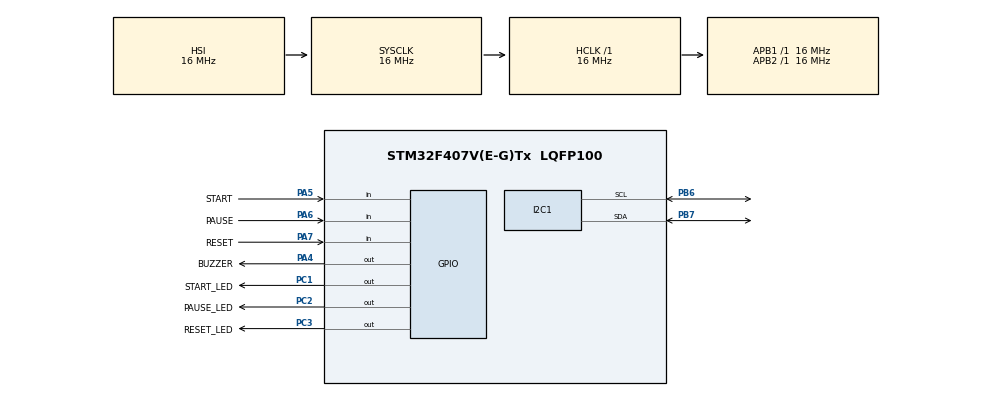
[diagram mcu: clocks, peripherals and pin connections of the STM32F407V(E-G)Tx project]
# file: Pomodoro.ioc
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Mcu.Family=STM32F4
Mcu.Name=STM32F407V(E-G)Tx
Mcu.Package=LQFP100
NVIC.PriorityGroup=NVIC_PRIORITYGROUP_4
PA4.GPIO_Label=BUZZER
PA4.Signal=GPIO_Output
PA5.GPIO_Label=START
PA5.GPIO_PuPd=GPIO_PULLDOWN
PA5.Signal=GPIO_Input
PA6.GPIO_Label=PAUSE
PA6.GPIO_PuPd=GPIO_PULLDOWN
PA6.Signal=GPIO_Input
PA7.GPIO_Label=RESET
PA7.GPIO_PuPd=GPIO_PULLDOWN
PA7.Signal=GPIO_Input
PB6.Mode=I2C
PB6.Signal=I2C1_SCL
PB7.Mode=I2C
PB7.Signal=I2C1_SDA
PC1.GPIO_Label=START_LED
PC1.Signal=GPIO_Output
PC2.GPIO_Label=PAUSE_LED
PC2.Signal=GPIO_Output
PC3.GPIO_Label=RESET_LED
PC3.Signal=GPIO_Output
ProjectManager.HeapSize=0x200
ProjectManager.StackSize=0x400
ProjectManager.TargetToolchain=CMake
RCC.AHBFreq_Value=16000000
RCC.APB1Freq_Value=16000000
RCC.APB2Freq_Value=16000000
RCC.CortexFreq_Value=16000000
RCC.HSE_VALUE=25000000
RCC.HSI_VALUE=16000000
RCC.LSE_VALUE=32768
RCC.SYSCLKFreq_VALUE=16000000
RCC.VCOOutputFreq_Value=192000000
board=custom

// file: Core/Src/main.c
/* USER CODE BEGIN Header */
/**
  ******************************************************************************
  * @file           : main.c
  * @brief          : Main program body
  ******************************************************************************
  * @attention
  *
  * Copyright (c) 2026 STMicroelectronics.
  * All rights reserved.
  *
  * This software is licensed under terms that can be found in the LICENSE file
  * in the root directory of this software component.
  * If no LICENSE file comes with this software, it is provided AS-IS.
  *
  ******************************************************************************
  */
/* USER CODE END Header */
#include "main.h"
#include "ssd1306.h"
#include "ssd1306_fonts.h"
#include "buttons.h"
#include<stdio.h>
#include<stdbool.h>

I2C_HandleTypeDef hi2c1;

void SystemClock_Config(void);
static void MX_GPIO_Init(void);
static void MX_I2C1_Init(void);

/* USER CODE BEGIN 0 */
void buzzer_beep(uint32_t ms) {
  HAL_GPIO_WritePin(BUZZER_GPIO_Port, BUZZER_Pin, GPIO_PIN_SET);
  HAL_Delay(ms);
  HAL_GPIO_WritePin(BUZZER_GPIO_Port, BUZZER_Pin, GPIO_PIN_RESET);
}
#define CZAS_PRACY_S 10
uint32_t sekundy = CZAS_PRACY_S;

void timer_update() {
  char napis[8];
  snprintf(napis, sizeof(napis), "%02lu:%02lu", sekundy / 60, sekundy % 60);
  ssd1306_Fill(Black);
  ssd1306_SetCursor(10, 20);
  ssd1306_WriteString(napis, Font_16x26, White);
  ssd1306_UpdateScreen();
}
/* USER CODE END 0 */

int main(void)
{

  /* MCU Configuration--------------------------------------------------------*/

  /* Reset of all peripherals, Initializes the Flash interface and the Systick. */
  HAL_Init();

  /* Configure the system clock */
  SystemClock_Config();

  /* Initialize all configured peripherals */
  MX_GPIO_Init();
  MX_I2C1_Init();
  /* USER CODE BEGIN 2 */
  buttons_init();
  ssd1306_Init();
  timer_update();
  /* USER CODE END 2 */

  /* Infinite loop */
  /* USER CODE BEGIN WHILE */
  uint32_t counter = 0;
  bool odlicza = false;
  while (1)
  {
    switch (buttons()) {
      case BTN_START:
        if (sekundy > 0) {
          odlicza = true;
          counter = HAL_GetTick();
        }
        HAL_GPIO_WritePin(START_LED_GPIO_Port, START_LED_Pin, GPIO_PIN_SET);
        buzzer_beep(100);
        HAL_GPIO_WritePin(RESET_LED_GPIO_Port, RESET_LED_Pin, GPIO_PIN_RESET);
        HAL_GPIO_WritePin(PAUSE_LED_GPIO_Port,PAUSE_LED_Pin, GPIO_PIN_RESET);
        break;
      case BTN_PAUSE:
        odlicza = false;
        HAL_GPIO_WritePin(START_LED_GPIO_Port, START_LED_Pin, GPIO_PIN_RESET);
        HAL_GPIO_WritePin(PAUSE_LED_GPIO_Port, PAUSE_LED_Pin, GPIO_PIN_SET);
        buzzer_beep(100);
        HAL_GPIO_WritePin(RESET_LED_GPIO_Port, RESET_LED_Pin, GPIO_PIN_RESET);
        break;
      case BTN_RESET:
        odlicza = false;
        sekundy = CZAS_PRACY_S;
        timer_update();
        HAL_GPIO_WritePin(START_LED_GPIO_Port, START_LED_Pin, GPIO_PIN_RESET);
        HAL_GPIO_WritePin(PAUSE_LED_GPIO_Port,PAUSE_LED_Pin, GPIO_PIN_RESET);
        HAL_GPIO_WritePin(RESET_LED_GPIO_Port, RESET_LED_Pin, GPIO_PIN_SET);
        buzzer_beep(100);
        break;
      default:
        break;
    }
    if (odlicza && (HAL_GetTick() - counter) >= 1000) {
      sekundy --;
      timer_update();
    }

    /* USER CODE END WHILE */

  }
}

void SystemClock_Config(void)
{
  RCC_OscInitTypeDef RCC_OscInitStruct = {0};
  RCC_ClkInitTypeDef RCC_ClkInitStruct = {0};

  /** Configure the main internal regulator output voltage
  */
  __HAL_RCC_PWR_CLK_ENABLE();
  __HAL_PWR_VOLTAGESCALING_CONFIG(PWR_REGULATOR_VOLTAGE_SCALE1);

  /** Initializes the RCC Oscillators according to the specified parameters
  * in the RCC_OscInitTypeDef structure.
  */
  RCC_OscInitStruct.OscillatorType = RCC_OSCILLATORTYPE_HSI;
  RCC_OscInitStruct.HSIState = RCC_HSI_ON;
  RCC_OscInitStruct.HSICalibrationValue = RCC_HSICALIBRATION_DEFAULT;
  RCC_OscInitStruct.PLL.PLLState = RCC_PLL_NONE;
  if (HAL_RCC_OscConfig(&RCC_OscInitStruct) != HAL_OK)
  {
    Error_Handler();
  }

  /** Initializes the CPU, AHB and APB buses clocks
  */
  RCC_ClkInitStruct.ClockType = RCC_CLOCKTYPE_HCLK|RCC_CLOCKTYPE_SYSCLK
                              |RCC_CLOCKTYPE_PCLK1|RCC_CLOCKTYPE_PCLK2;
  RCC_ClkInitStruct.SYSCLKSource = RCC_SYSCLKSOURCE_HSI;
  RCC_ClkInitStruct.AHBCLKDivider = RCC_SYSCLK_DIV1;
  RCC_ClkInitStruct.APB1CLKDivider = RCC_HCLK_DIV1;
  RCC_ClkInitStruct.APB2CLKDivider = RCC_HCLK_DIV1;

  if (HAL_RCC_ClockConfig(&RCC_ClkInitStruct, FLASH_LATENCY_0) != HAL_OK)
  {
    Error_Handler();
  }
}

static void MX_I2C1_Init(void)
{

  hi2c1.Instance = I2C1;
  hi2c1.Init.ClockSpeed = 100000;
  hi2c1.Init.DutyCycle = I2C_DUTYCYCLE_2;
  hi2c1.Init.OwnAddress1 = 0;
  hi2c1.Init.AddressingMode = I2C_ADDRESSINGMODE_7BIT;
  hi2c1.Init.DualAddressMode = I2C_DUALADDRESS_DISABLE;
  hi2c1.Init.OwnAddress2 = 0;
  hi2c1.Init.GeneralCallMode = I2C_GENERALCALL_DISABLE;
  hi2c1.Init.NoStretchMode = I2C_NOSTRETCH_DISABLE;
  if (HAL_I2C_Init(&hi2c1) != HAL_OK)
  {
    Error_Handler();
  }

}

static void MX_GPIO_Init(void)
{
  GPIO_InitTypeDef GPIO_InitStruct = {0};

  /* GPIO Ports Clock Enable */
  __HAL_RCC_GPIOC_CLK_ENABLE();
  __HAL_RCC_GPIOA_CLK_ENABLE();
  __HAL_RCC_GPIOB_CLK_ENABLE();

  /*Configure GPIO pin Output Level */
  HAL_GPIO_WritePin(GPIOC, START_LED_Pin|PAUSE_LED_Pin|RESET_LED_Pin, GPIO_PIN_RESET);

  /*Configure GPIO pin Output Level */
  HAL_GPIO_WritePin(BUZZER_GPIO_Port, BUZZER_Pin, GPIO_PIN_RESET);

  /*Configure GPIO pins : START_LED_Pin PAUSE_LED_Pin RESET_LED_Pin */
  GPIO_InitStruct.Pin = START_LED_Pin|PAUSE_LED_Pin|RESET_LED_Pin;
  GPIO_InitStruct.Mode = GPIO_MODE_OUTPUT_PP;
  GPIO_InitStruct.Pull = GPIO_NOPULL;
  GPIO_InitStruct.Speed = GPIO_SPEED_FREQ_LOW;
  HAL_GPIO_Init(GPIOC, &GPIO_InitStruct);

  /*Configure GPIO pin : BUZZER_Pin */
  GPIO_InitStruct.Pin = BUZZER_Pin;
  GPIO_InitStruct.Mode = GPIO_MODE_OUTPUT_PP;
  GPIO_InitStruct.Pull = GPIO_NOPULL;
  GPIO_InitStruct.Speed = GPIO_SPEED_FREQ_LOW;
  HAL_GPIO_Init(BUZZER_GPIO_Port, &GPIO_InitStruct);

  /*Configure GPIO pins : START_Pin PAUSE_Pin RESET_Pin */
  GPIO_InitStruct.Pin = START_Pin|PAUSE_Pin|RESET_Pin;
  GPIO_InitStruct.Mode = GPIO_MODE_INPUT;
  GPIO_InitStruct.Pull = GPIO_PULLDOWN;
  HAL_GPIO_Init(GPIOA, &GPIO_InitStruct);

}

void Error_Handler(void)
{
  __disable_irq();
  while (1)
  {
  }
}
